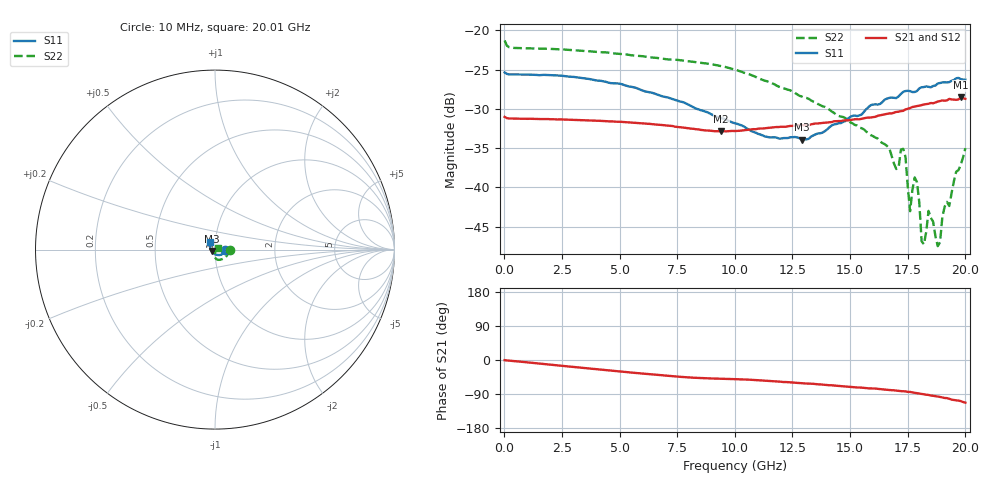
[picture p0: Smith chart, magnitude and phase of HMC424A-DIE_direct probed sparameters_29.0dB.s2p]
!s2p File: Measurements: S11, S21, S12, S22
# GHz S dB R 50.0
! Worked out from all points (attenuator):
!   201 points, 10 MHz to 20.01 GHz, reference 50 ohm
!   highest |S21| = -28.54 dB at 19.81 GHz (marker M1); lowest = -32.9 dB at 9.41 GHz (marker M2)
!   lowest |S11| = -33.9 dB at 12.91 GHz (marker M3), VSWR 1.04, Z = 48.2 - j0.784 ohm
!   |S11| at or under -10 dB: start of sweep to end of sweep
!   |S22| runs from -47.5 to -21.3 dB; largest |S21 - S12| = 0.00035
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0.01  -25.35 -0.2  -31.01 -0.4  -31.03 -0.5  -21.28 -1.6
3.41  -26.09 -23.9  -31.43 -20.7  -31.42 -20.7  -22.59 -27.9
6.71  -28.26 -51.8  -32.01 -39.8  -32.01 -39.7  -23.53 -52.6
9.41  -31.17 -82.8  -32.85 -49.4  -32.83 -49.3  -24.55 -73.6
10.01  -31.82 -91.8  -32.81 -50.5  -32.80 -50.5  -24.98 -78.5
12.91  -33.89 -156.3  -32.05 -61.2  -32.03 -61.1  -28.42 -95.1
13.41  -33.38 -168.1  -31.91 -62.9  -31.91 -62.9  -29.07 -96.8
16.71  -28.59 137.8  -30.56 -79.1  -30.55 -79.2  -35.02 -105.9
17.01  -28.62 136.4  -30.38 -80.8  -30.33 -80.9  -37.65 -97.8
17.31  -27.83 135.0  -30.24 -82.4  -30.21 -82.7  -35.07 -100.9
17.41  -27.72 133.0  -30.07 -82.9  -30.09 -83.3  -36.10 -116.8
17.61  -27.73 129.8  -29.89 -84.2  -29.94 -84.8  -43.02 -98.7
17.81  -27.84 129.1  -29.70 -86.5  -29.74 -86.7  -38.72 -84.2
17.91  -27.71 128.8  -29.63 -87.7  -29.69 -87.6  -39.34 -99.1
18.11  -27.24 125.8  -29.51 -89.3  -29.56 -89.0  -46.84 -97.0
18.21  -27.21 124.7  -29.44 -90.5  -29.47 -90.3  -47.23 -64.6
18.41  -27.18 122.9  -29.34 -92.2  -29.37 -92.0  -42.98 -49.7
18.91  -26.69 122.4  -28.99 -97.5  -28.99 -97.2  -46.96 -0.2
19.11  -26.60 121.7  -28.95 -100.2  -28.98 -100.1  -42.44 6.2
19.31  -26.58 121.8  -28.72 -102.4  -28.70 -102.2  -42.36 11.8
19.81  -26.20 119.7  -28.54 -108.5  -28.55 -108.5  -37.09 22.9
20.01  -26.28 121.9  -28.71 -112.6  -28.71 -112.5  -34.99 23.4
